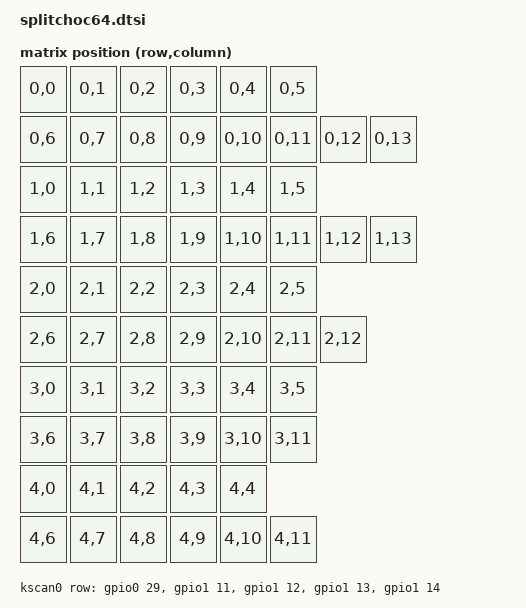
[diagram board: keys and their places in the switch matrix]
#include <dt-bindings/zmk/matrix_transform.h>
#include <zephyr/dt-bindings/gpio/gpio.h>
#include <zephyr/dt-bindings/pwm/pwm.h>
#include <zephyr/dt-bindings/pinctrl/nrf-pinctrl.h>
#include "splitchoc64-layouts.dtsi"

/ {
    kscan0: kscan0 {
        compatible = "zmk,kscan-gpio-matrix";
        diode-direction = "col2row";
        wakeup-source;

        /* Ver001 U1/U2 matrix rows:
         * ROW0=D3/P0.29
         * ROW1=D6/P1.11
         * ROW2=D7/P1.12
         * ROW3=D8/P1.13
         * ROW4=D9/P1.14
         */
        row-gpios
            = <&gpio0 29 (GPIO_ACTIVE_HIGH | GPIO_PULL_DOWN)>
            , <&gpio1 11 (GPIO_ACTIVE_HIGH | GPIO_PULL_DOWN)>
            , <&gpio1 12 (GPIO_ACTIVE_HIGH | GPIO_PULL_DOWN)>
            , <&gpio1 13 (GPIO_ACTIVE_HIGH | GPIO_PULL_DOWN)>
            , <&gpio1 14 (GPIO_ACTIVE_HIGH | GPIO_PULL_DOWN)>
            ;
    };

    /*
     * Ver001 discrete status LED.
     * PCB net LED_CTRL is XIAO Plus D19 = nRF52840 P1.07.
     * This is intentionally independent from the switch backlight.
     */
    status_leds: status_leds {
        compatible = "gpio-leds";

        status_led: status_led_0 {
            gpios = <&gpio1 7 GPIO_ACTIVE_HIGH>;
            label = "SplitChoc64 Status";
        };
    };

    aliases {
        status-led = &status_led;
    };

    /*
     * Ver001 switch backlight.
     * PCB net BL_PWM is XIAO Plus D2 = nRF52840 P0.28.
     * All key LEDs share one PWM-controlled backlight channel.
     */
    backlight: pwmleds {
        compatible = "pwm-leds";

        pwm_led_0 {
            pwms = <&pwm0 0 PWM_USEC(1000) PWM_POLARITY_NORMAL>;
            label = "SplitChoc64 Key Backlight";
        };
    };

    default_transform: keymap_transform0 {
        compatible = "zmk,matrix-transform";
        rows = <5>;
        columns = <14>;

        /* Key order follows the SplitChoc64 physical layout.
         * Global columns 0..5 are LEFT.
         * Global columns 6..13 are RIGHT (right overlay col-offset=6).
         */
        map = <
            RC(0,0) RC(0,1) RC(0,2) RC(0,3) RC(0,4) RC(0,5)
            RC(0,6) RC(0,7) RC(0,8) RC(0,9) RC(0,10) RC(0,11) RC(0,12) RC(0,13)

            RC(1,0) RC(1,1) RC(1,2) RC(1,3) RC(1,4) RC(1,5)
            RC(1,6) RC(1,7) RC(1,8) RC(1,9) RC(1,10) RC(1,11) RC(1,12) RC(1,13)

            RC(2,0) RC(2,1) RC(2,2) RC(2,3) RC(2,4) RC(2,5)
            RC(2,6) RC(2,7) RC(2,8) RC(2,9) RC(2,10) RC(2,11) RC(2,12)

            RC(3,0) RC(3,1) RC(3,2) RC(3,3) RC(3,4) RC(3,5)
            RC(3,6) RC(3,7) RC(3,8) RC(3,9) RC(3,10) RC(3,11)

            RC(4,0) RC(4,1) RC(4,2) RC(4,3) RC(4,4)
            RC(4,6) RC(4,7) RC(4,8) RC(4,9) RC(4,10) RC(4,11)
        >;
    };

    chosen {
        zmk,kscan = &kscan0;
        zmk,physical-layout = &default_layout;
        zmk,backlight = &backlight;
    };
};

&pinctrl {
    splitchoc64_bl_pwm_default: splitchoc64_bl_pwm_default {
        group1 {
            psels = <NRF_PSEL(PWM_OUT0, 0, 28)>;
        };
    };

    splitchoc64_bl_pwm_sleep: splitchoc64_bl_pwm_sleep {
        group1 {
            psels = <NRF_PSEL(PWM_OUT0, 0, 28)>;
            low-power-enable;
        };
    };
};

&pwm0 {
    status = "okay";
    pinctrl-0 = <&splitchoc64_bl_pwm_default>;
    pinctrl-1 = <&splitchoc64_bl_pwm_sleep>;
    pinctrl-names = "default", "sleep";
};

&default_layout {
    transform = <&default_transform>;
    kscan = <&kscan0>;
};
